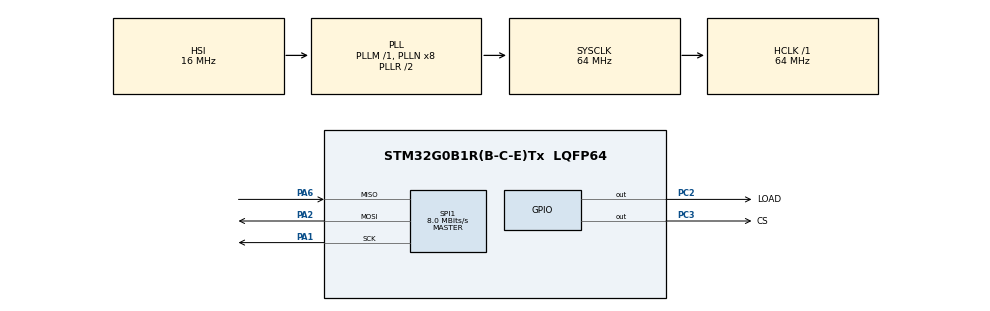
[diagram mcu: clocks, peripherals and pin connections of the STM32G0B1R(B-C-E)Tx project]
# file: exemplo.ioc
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Mcu.Family=STM32G0
Mcu.Name=STM32G0B1R(B-C-E)Tx
Mcu.Package=LQFP64
NVIC.SPI1_IRQn=true\:0\:0\:false\:false\:true\:true\:true
PA1.Mode=Full_Duplex_Master
PA1.Signal=SPI1_SCK
PA13.Mode=Serial_Wire
PA13.Signal=SYS_SWDIO
PA14-BOOT0.Mode=Serial_Wire
PA14-BOOT0.Signal=SYS_SWCLK
PA2.Mode=Full_Duplex_Master
PA2.Signal=SPI1_MOSI
PA6.Mode=Full_Duplex_Master
PA6.Signal=SPI1_MISO
PC2.GPIO_Label=LOAD
PC2.GPIO_Speed=GPIO_SPEED_FREQ_VERY_HIGH
PC2.PinState=GPIO_PIN_SET
PC2.Signal=GPIO_Output
PC3.GPIO_Label=CS
PC3.GPIO_Speed=GPIO_SPEED_FREQ_VERY_HIGH
PC3.PinState=GPIO_PIN_SET
PC3.Signal=GPIO_Output
ProjectManager.HeapSize=0x200
ProjectManager.StackSize=0x400
ProjectManager.TargetToolchain=STM32CubeIDE
RCC.ADCFreq_Value=64000000
RCC.AHBFreq_Value=64000000
RCC.CortexFreq_Value=64000000
RCC.EXTERNAL_CLOCK_VALUE=48000
RCC.HCLKFreq_Value=64000000
RCC.HSE_VALUE=8000000
RCC.HSI48_VALUE=48000000
RCC.HSI_VALUE=16000000
RCC.LSE_VALUE=32768
RCC.SYSCLKFreq_VALUE=64000000
RCC.SYSCLKSource=RCC_SYSCLKSOURCE_PLLCLK
RCC.USBFreq_Value=48000000
RCC.VCOOutputFreq_Value=128000000
SPI1.BaudRatePrescaler=SPI_BAUDRATEPRESCALER_8
SPI1.CalculateBaudRate=8.0 MBits/s
SPI1.Direction=SPI_DIRECTION_2LINES
SPI1.Mode=SPI_MODE_MASTER
SPI1.VirtualType=VM_MASTER
VP_SYS_VS_DBSignals.Mode=DisableDeadBatterySignals
board=custom

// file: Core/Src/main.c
/* USER CODE BEGIN Header */
/**
  ******************************************************************************
  * @file           : main.c
  * @brief          : Main program body
  ******************************************************************************
  * @attention
  *
  * Copyright (c) 2022 STMicroelectronics.
  * All rights reserved.
  *
  * This software is licensed under terms that can be found in the LICENSE file
  * in the root directory of this software component.
  * If no LICENSE file comes with this software, it is provided AS-IS.
  *
  ******************************************************************************
  */
/* USER CODE END Header */
#include "main.h"

/* USER CODE BEGIN Includes */
#include <stdint.h>
/* USER CODE END Includes */

SPI_HandleTypeDef hspi1;

/* USER CODE BEGIN PV */

typedef enum {
	ligado,
	desligado
}status_e;

typedef union
{
	struct{
		status_e botao3		: 1;
		status_e botao4		: 1;
		status_e botao1		: 1;
		status_e botao2		: 1;
		uint8_t reserved	: 4;
	}bits;
	uint8_t raw;
}buttons_u;

status_e botao01=desligado;
status_e botao02=desligado;
status_e botao03=desligado;
status_e botao04=desligado;

/* USER CODE END PV */

void SystemClock_Config(void);
static void MX_GPIO_Init(void);
static void MX_SPI1_Init(void);
/* USER CODE BEGIN PFP */
buttons_u butaos;
/* USER CODE END PFP */

/* USER CODE BEGIN 0 */
uint8_t hc165_get(){
	uint8_t regis;

	HAL_GPIO_WritePin(LOAD_GPIO_Port, LOAD_Pin, GPIO_PIN_RESET);
	HAL_Delay(10);
	HAL_GPIO_WritePin(LOAD_GPIO_Port, LOAD_Pin, GPIO_PIN_SET);

	HAL_GPIO_WritePin(CS_GPIO_Port, CS_Pin, GPIO_PIN_RESET);
	HAL_SPI_Receive(&hspi1, &regis, 1, 100);
	HAL_GPIO_WritePin(CS_GPIO_Port, CS_Pin, GPIO_PIN_SET);

	return regis;
}
/* USER CODE END 0 */

int main(void)
{

  /* MCU Configuration--------------------------------------------------------*/

  /* Reset of all peripherals, Initializes the Flash interface and the Systick. */
  HAL_Init();

  /* Configure the system clock */
  SystemClock_Config();

  /* Initialize all configured peripherals */
  MX_GPIO_Init();
  MX_SPI1_Init();
  /* USER CODE BEGIN 2 */
  HAL_SPI_Transmit(&hspi1, &botao01, 2, 10);
  /* USER CODE END 2 */

  /* Infinite loop */
  /* USER CODE BEGIN WHILE */
  while (1)
  {
	  butaos.raw = hc165_get();
	  HAL_Delay(10);

	  if (butaos.bits.botao1 == ligado){

	  }

    /* USER CODE END WHILE */

  }
}

void SystemClock_Config(void)
{
  RCC_OscInitTypeDef RCC_OscInitStruct = {0};
  RCC_ClkInitTypeDef RCC_ClkInitStruct = {0};

  /** Configure the main internal regulator output voltage
  */
  HAL_PWREx_ControlVoltageScaling(PWR_REGULATOR_VOLTAGE_SCALE1);
  /** Initializes the RCC Oscillators according to the specified parameters
  * in the RCC_OscInitTypeDef structure.
  */
  RCC_OscInitStruct.OscillatorType = RCC_OSCILLATORTYPE_HSI;
  RCC_OscInitStruct.HSIState = RCC_HSI_ON;
  RCC_OscInitStruct.HSIDiv = RCC_HSI_DIV1;
  RCC_OscInitStruct.HSICalibrationValue = RCC_HSICALIBRATION_DEFAULT;
  RCC_OscInitStruct.PLL.PLLState = RCC_PLL_ON;
  RCC_OscInitStruct.PLL.PLLSource = RCC_PLLSOURCE_HSI;
  RCC_OscInitStruct.PLL.PLLM = RCC_PLLM_DIV1;
  RCC_OscInitStruct.PLL.PLLN = 8;
  RCC_OscInitStruct.PLL.PLLP = RCC_PLLP_DIV2;
  RCC_OscInitStruct.PLL.PLLQ = RCC_PLLQ_DIV2;
  RCC_OscInitStruct.PLL.PLLR = RCC_PLLR_DIV2;
  if (HAL_RCC_OscConfig(&RCC_OscInitStruct) != HAL_OK)
  {
    Error_Handler();
  }
  /** Initializes the CPU, AHB and APB buses clocks
  */
  RCC_ClkInitStruct.ClockType = RCC_CLOCKTYPE_HCLK|RCC_CLOCKTYPE_SYSCLK
                              |RCC_CLOCKTYPE_PCLK1;
  RCC_ClkInitStruct.SYSCLKSource = RCC_SYSCLKSOURCE_PLLCLK;
  RCC_ClkInitStruct.AHBCLKDivider = RCC_SYSCLK_DIV1;
  RCC_ClkInitStruct.APB1CLKDivider = RCC_HCLK_DIV1;

  if (HAL_RCC_ClockConfig(&RCC_ClkInitStruct, FLASH_LATENCY_2) != HAL_OK)
  {
    Error_Handler();
  }
}

static void MX_SPI1_Init(void)
{

  /* SPI1 parameter configuration*/
  hspi1.Instance = SPI1;
  hspi1.Init.Mode = SPI_MODE_MASTER;
  hspi1.Init.Direction = SPI_DIRECTION_2LINES;
  hspi1.Init.DataSize = SPI_DATASIZE_8BIT;
  hspi1.Init.CLKPolarity = SPI_POLARITY_LOW;
  hspi1.Init.CLKPhase = SPI_PHASE_1EDGE;
  hspi1.Init.NSS = SPI_NSS_SOFT;
  hspi1.Init.BaudRatePrescaler = SPI_BAUDRATEPRESCALER_8;
  hspi1.Init.FirstBit = SPI_FIRSTBIT_MSB;
  hspi1.Init.TIMode = SPI_TIMODE_DISABLE;
  hspi1.Init.CRCCalculation = SPI_CRCCALCULATION_DISABLE;
  hspi1.Init.CRCPolynomial = 7;
  hspi1.Init.CRCLength = SPI_CRC_LENGTH_DATASIZE;
  hspi1.Init.NSSPMode = SPI_NSS_PULSE_ENABLE;
  if (HAL_SPI_Init(&hspi1) != HAL_OK)
  {
    Error_Handler();
  }

}

static void MX_GPIO_Init(void)
{
  GPIO_InitTypeDef GPIO_InitStruct = {0};

  /* GPIO Ports Clock Enable */
  __HAL_RCC_GPIOC_CLK_ENABLE();
  __HAL_RCC_GPIOA_CLK_ENABLE();

  /*Configure GPIO pin Output Level */
  HAL_GPIO_WritePin(GPIOC, LOAD_Pin|CS_Pin, GPIO_PIN_SET);

  /*Configure GPIO pins : LOAD_Pin CS_Pin */
  GPIO_InitStruct.Pin = LOAD_Pin|CS_Pin;
  GPIO_InitStruct.Mode = GPIO_MODE_OUTPUT_PP;
  GPIO_InitStruct.Pull = GPIO_NOPULL;
  GPIO_InitStruct.Speed = GPIO_SPEED_FREQ_VERY_HIGH;
  HAL_GPIO_Init(GPIOC, &GPIO_InitStruct);

}

void Error_Handler(void)
{
  __disable_irq();
  while (1)
  {
  }
}
